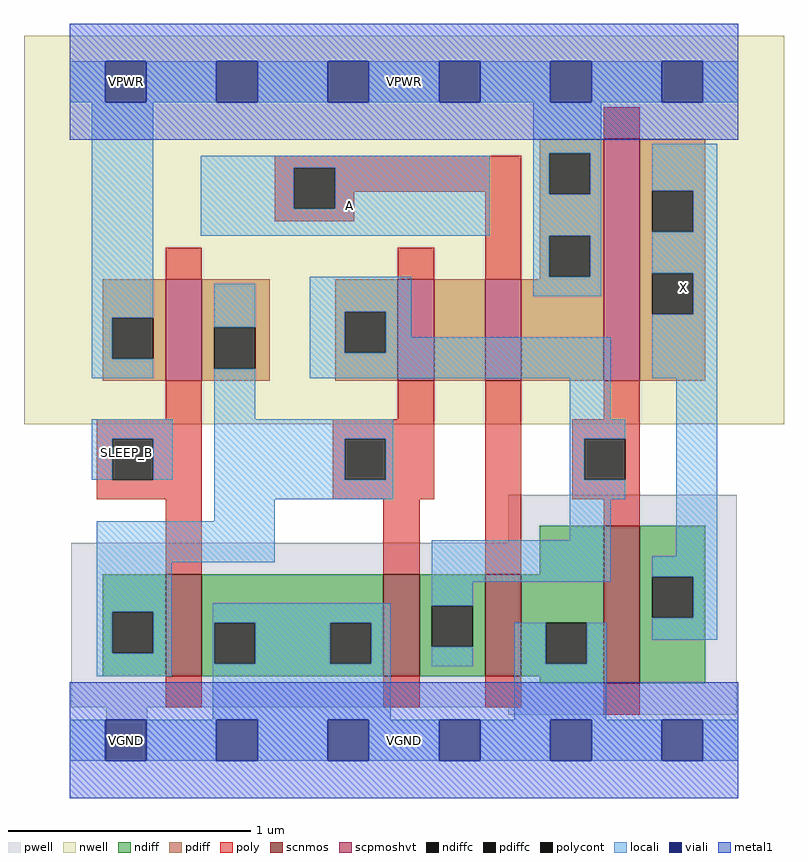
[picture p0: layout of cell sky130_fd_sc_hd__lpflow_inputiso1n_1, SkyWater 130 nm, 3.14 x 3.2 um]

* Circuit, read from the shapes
.subckt sky130_fd_sc_hd__lpflow_inputiso1n_1 A SLEEP_B VGND VNB VPB VPWR X
XM1 VGND SLEEP_B n1 VNB sky130_fd_pr__nfet_01v8 w=0.42 l=0.15
XM2 n2 n1 VGND VNB sky130_fd_pr__nfet_01v8 w=0.42 l=0.15
XM3 VGND A n2 VNB sky130_fd_pr__nfet_01v8 w=0.42 l=0.15
XM4 X n2 VGND VNB sky130_fd_pr__nfet_01v8 w=0.65 l=0.15
XM5 n1 SLEEP_B VPWR VPB sky130_fd_pr__pfet_01v8_hvt w=0.42 l=0.15
XM6 n3 n1 n2 VPB sky130_fd_pr__pfet_01v8_hvt w=0.42 l=0.15
XM7 VPWR A n3 VPB sky130_fd_pr__pfet_01v8_hvt w=0.42 l=0.15
XM8 X n2 VPWR VPB sky130_fd_pr__pfet_01v8_hvt w=1 l=0.15
.ends

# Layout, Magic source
magic
tech sky130A
magscale 1 2
<< nwell >>
rect -38 261 590 582
<< pwell >>
rect 362 163 551 203
rect 1 27 551 163
rect 30 -17 64 27
rect 362 21 551 27
<< scnmos >>
rect 79 53 109 137
rect 259 53 289 137
rect 343 53 373 137
rect 441 47 471 177
<< scpmoshvt >>
rect 79 297 109 381
rect 271 297 301 381
rect 343 297 373 381
rect 441 297 471 497
<< ndiff >>
rect 388 137 441 177
rect 27 106 79 137
rect 27 72 35 106
rect 69 72 79 106
rect 27 53 79 72
rect 109 97 259 137
rect 109 63 119 97
rect 153 63 215 97
rect 249 63 259 97
rect 109 53 259 63
rect 289 111 343 137
rect 289 77 299 111
rect 333 77 343 111
rect 289 53 343 77
rect 373 97 441 137
rect 373 63 393 97
rect 427 63 441 97
rect 373 53 441 63
rect 388 47 441 53
rect 471 135 525 177
rect 471 101 481 135
rect 515 101 525 135
rect 471 47 525 101
<< pdiff >>
rect 388 485 441 497
rect 388 451 396 485
rect 430 451 441 485
rect 388 417 441 451
rect 388 383 396 417
rect 430 383 441 417
rect 388 381 441 383
rect 27 349 79 381
rect 27 315 35 349
rect 69 315 79 349
rect 27 297 79 315
rect 109 341 165 381
rect 109 307 119 341
rect 153 307 165 341
rect 109 297 165 307
rect 219 354 271 381
rect 219 320 227 354
rect 261 320 271 354
rect 219 297 271 320
rect 301 297 343 381
rect 373 297 441 381
rect 471 454 525 497
rect 471 420 481 454
rect 515 420 525 454
rect 471 386 525 420
rect 471 352 481 386
rect 515 352 525 386
rect 471 297 525 352
<< ndiffc >>
rect 35 72 69 106
rect 119 63 153 97
rect 215 63 249 97
rect 299 77 333 111
rect 393 63 427 97
rect 481 101 515 135
<< pdiffc >>
rect 396 451 430 485
rect 396 383 430 417
rect 35 315 69 349
rect 119 307 153 341
rect 227 320 261 354
rect 481 420 515 454
rect 481 352 515 386
<< poly >>
rect 441 497 471 523
rect 169 473 373 483
rect 169 439 185 473
rect 219 453 373 473
rect 219 439 235 453
rect 169 429 235 439
rect 79 381 109 407
rect 271 381 301 407
rect 343 381 373 453
rect 79 265 109 297
rect 271 265 301 297
rect 22 249 109 265
rect 22 215 35 249
rect 69 215 109 249
rect 22 199 109 215
rect 217 249 301 265
rect 217 215 227 249
rect 261 215 301 249
rect 217 199 301 215
rect 79 137 109 199
rect 259 137 289 199
rect 343 137 373 297
rect 441 265 471 297
rect 415 249 471 265
rect 415 215 425 249
rect 459 215 471 249
rect 415 199 471 215
rect 441 177 471 199
rect 79 27 109 53
rect 259 27 289 53
rect 343 27 373 53
rect 441 21 471 47
<< polycont >>
rect 185 439 219 473
rect 35 215 69 249
rect 227 215 261 249
rect 425 215 459 249
<< locali >>
rect 0 527 29 561
rect 63 527 121 561
rect 155 527 213 561
rect 247 527 305 561
rect 339 527 397 561
rect 431 527 489 561
rect 523 527 552 561
rect 18 349 69 527
rect 383 485 439 527
rect 108 473 347 483
rect 108 439 185 473
rect 219 439 347 473
rect 108 417 347 439
rect 383 451 396 485
rect 430 451 439 485
rect 383 417 439 451
rect 383 383 396 417
rect 430 383 439 417
rect 18 315 35 349
rect 18 299 69 315
rect 119 341 153 377
rect 119 265 153 307
rect 198 354 282 383
rect 383 367 439 383
rect 481 454 535 493
rect 515 420 535 454
rect 481 386 535 420
rect 198 320 227 354
rect 261 333 282 354
rect 515 352 535 386
rect 261 320 447 333
rect 198 299 447 320
rect 481 299 535 352
rect 413 265 447 299
rect 18 249 85 265
rect 18 215 35 249
rect 69 215 85 249
rect 119 249 267 265
rect 119 215 227 249
rect 261 215 267 249
rect 119 199 267 215
rect 413 249 459 265
rect 413 215 425 249
rect 413 199 459 215
rect 119 181 169 199
rect 22 147 169 181
rect 413 165 447 199
rect 22 106 84 147
rect 299 131 447 165
rect 501 152 535 299
rect 481 135 535 152
rect 22 72 35 106
rect 69 72 84 106
rect 22 53 84 72
rect 118 97 265 113
rect 118 63 119 97
rect 153 63 215 97
rect 249 63 265 97
rect 118 17 265 63
rect 299 111 333 131
rect 515 101 535 135
rect 299 61 333 77
rect 367 63 393 97
rect 427 63 443 97
rect 481 83 535 101
rect 367 17 443 63
rect 0 -17 29 17
rect 63 -17 121 17
rect 155 -17 213 17
rect 247 -17 305 17
rect 339 -17 397 17
rect 431 -17 489 17
rect 523 -17 552 17
<< viali >>
rect 29 527 63 561
rect 121 527 155 561
rect 213 527 247 561
rect 305 527 339 561
rect 397 527 431 561
rect 489 527 523 561
rect 29 -17 63 17
rect 121 -17 155 17
rect 213 -17 247 17
rect 305 -17 339 17
rect 397 -17 431 17
rect 489 -17 523 17
<< metal1 >>
rect 0 561 552 592
rect 0 527 29 561
rect 63 527 121 561
rect 155 527 213 561
rect 247 527 305 561
rect 339 527 397 561
rect 431 527 489 561
rect 523 527 552 561
rect 0 496 552 527
rect 0 17 552 48
rect 0 -17 29 17
rect 63 -17 121 17
rect 155 -17 213 17
rect 247 -17 305 17
rect 339 -17 397 17
rect 431 -17 489 17
rect 523 -17 552 17
rect 0 -48 552 -17
<< labels >>
flabel locali s 214 425 248 459 0 FreeSans 400 0 0 0 A
port 1 nsew signal input
flabel locali s 30 221 64 255 0 FreeSans 200 0 0 0 SLEEP_B
port 2 nsew signal input
flabel locali s 490 357 524 391 0 FreeSans 400 0 0 0 X
port 7 nsew signal output
flabel metal1 s 30 -17 64 17 0 FreeSans 200 0 0 0 VGND
port 3 nsew ground bidirectional abutment
flabel metal1 s 30 527 64 561 0 FreeSans 200 0 0 0 VPWR
port 6 nsew power bidirectional abutment
flabel pwell s 30 -17 64 17 0 FreeSans 200 0 0 0 VNB
port 4 nsew ground bidirectional
flabel nwell s 30 527 64 561 0 FreeSans 200 0 0 0 VPB
port 5 nsew power bidirectional
rlabel comment s 0 0 0 0 4 lpflow_inputiso1n_1
rlabel metal1 s 0 -48 552 48 1 VGND
port 3 nsew ground bidirectional abutment
rlabel metal1 s 0 496 552 592 1 VPWR
port 6 nsew power bidirectional abutment
<< properties >>
string FIXED_BBOX 0 0 552 544
string GDS_END 2361004
string GDS_FILE $PDKPATH/libs.ref/sky130_fd_sc_hd/gds/sky130_fd_sc_hd.gds
string GDS_START 2356098
string LEFclass CORE
string LEFsite unithd
string LEFsymmetry X Y R90
string path 0.000 0.000 13.800 0.000 
<< end >>
